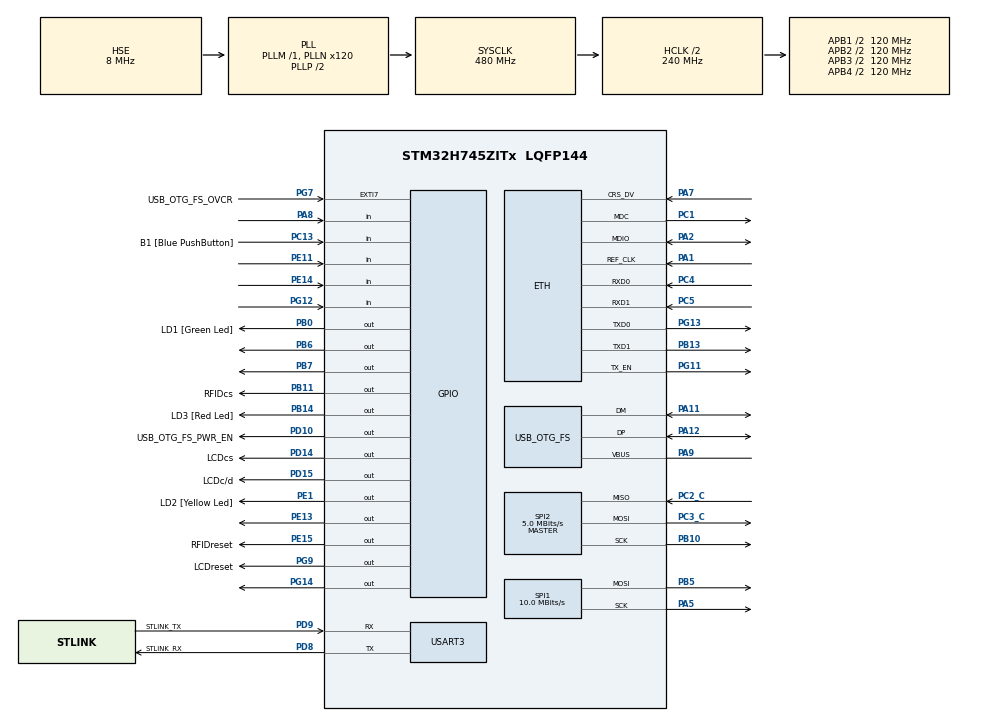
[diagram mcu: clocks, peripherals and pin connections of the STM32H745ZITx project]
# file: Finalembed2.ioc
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CortexM4.IPs=FATFS_M4\:I,FREERTOS_M4\:I,IWDG2\:I,RCC,WWDG2\:I,DMA,BDMA,MDMA,NVIC2\:I,USART3,ETH,DEBUG,USB_DEVICE_M4\:I,USB_HOST_M4\:I,PDM2PCM_M4\:I,PWR,RESMGR_UTILITY,SYS_M4\:I,CORTEX_M4\:I,OPENAMP_M4\:I,VREFBUF
CortexM7.IPs=FATFS_M7\:I,FREERTOS_M7\:I,IWDG1\:I,RCC\:I,WWDG1\:I,DMA\:I,BDMA\:I,MDMA\:I,NVIC1\:I,SYS\:I,USART3\:I,USB_OTG_FS\:I,ETH\:I,CORTEX_M7\:I,DEBUG\:I,USB_DEVICE_M7\:I,USB_HOST_M7\:I,PDM2PCM_M7\:I,PWR\:I,RESMGR_UTILITY\:I,OPENAMP_M7\:I,VREFBUF\:I,SPI1\:I,SPI2\:I
CortexM7.Pins=PC13,PB0,PE11,PE13,PE14,PE15,PB11,PB14,PD10,PD14,PD15,PG7,PA8,PG9,PG12,PG14,PB6,PB7,PE1
Dma.Request0=SPI1_TX
Dma.Request1=SPI2_TX
Dma.Request2=SPI2_RX
Dma.SPI1_TX.0.Direction=DMA_MEMORY_TO_PERIPH
Dma.SPI1_TX.0.EventEnable=DISABLE
Dma.SPI1_TX.0.FIFOMode=DMA_FIFOMODE_DISABLE
Dma.SPI1_TX.0.Instance=DMA1_Stream0
Dma.SPI1_TX.0.MemDataAlignment=DMA_MDATAALIGN_BYTE
Dma.SPI1_TX.0.MemInc=DMA_MINC_ENABLE
Dma.SPI1_TX.0.Mode=DMA_CIRCULAR
Dma.SPI1_TX.0.PeriphDataAlignment=DMA_PDATAALIGN_BYTE
Dma.SPI1_TX.0.PeriphInc=DMA_PINC_DISABLE
Dma.SPI1_TX.0.Polarity=HAL_DMAMUX_REQ_GEN_RISING
Dma.SPI1_TX.0.Priority=DMA_PRIORITY_LOW
Dma.SPI1_TX.0.RequestNumber=1
Dma.SPI1_TX.0.SignalID=NONE
Dma.SPI1_TX.0.SyncEnable=DISABLE
Dma.SPI1_TX.0.SyncPolarity=HAL_DMAMUX_SYNC_NO_EVENT
Dma.SPI1_TX.0.SyncRequestNumber=1
Dma.SPI1_TX.0.SyncSignalID=NONE
Dma.SPI2_RX.2.Direction=DMA_PERIPH_TO_MEMORY
Dma.SPI2_RX.2.EventEnable=DISABLE
Dma.SPI2_RX.2.FIFOMode=DMA_FIFOMODE_DISABLE
Dma.SPI2_RX.2.Instance=DMA1_Stream2
Dma.SPI2_RX.2.MemDataAlignment=DMA_MDATAALIGN_BYTE
Dma.SPI2_RX.2.MemInc=DMA_MINC_ENABLE
Dma.SPI2_RX.2.Mode=DMA_CIRCULAR
Dma.SPI2_RX.2.PeriphDataAlignment=DMA_PDATAALIGN_BYTE
Dma.SPI2_RX.2.PeriphInc=DMA_PINC_DISABLE
Dma.SPI2_RX.2.Polarity=HAL_DMAMUX_REQ_GEN_RISING
Dma.SPI2_RX.2.Priority=DMA_PRIORITY_LOW
Dma.SPI2_RX.2.RequestNumber=1
Dma.SPI2_RX.2.SignalID=NONE
Dma.SPI2_RX.2.SyncEnable=DISABLE
Dma.SPI2_RX.2.SyncPolarity=HAL_DMAMUX_SYNC_NO_EVENT
Dma.SPI2_RX.2.SyncRequestNumber=1
Dma.SPI2_RX.2.SyncSignalID=NONE
Dma.SPI2_TX.1.Direction=DMA_MEMORY_TO_PERIPH
Dma.SPI2_TX.1.EventEnable=DISABLE
Dma.SPI2_TX.1.FIFOMode=DMA_FIFOMODE_DISABLE
Dma.SPI2_TX.1.Instance=DMA1_Stream1
Dma.SPI2_TX.1.MemDataAlignment=DMA_MDATAALIGN_BYTE
Dma.SPI2_TX.1.MemInc=DMA_MINC_ENABLE
Dma.SPI2_TX.1.Mode=DMA_CIRCULAR
Dma.SPI2_TX.1.PeriphDataAlignment=DMA_PDATAALIGN_BYTE
Dma.SPI2_TX.1.PeriphInc=DMA_PINC_DISABLE
Dma.SPI2_TX.1.Polarity=HAL_DMAMUX_REQ_GEN_RISING
Dma.SPI2_TX.1.Priority=DMA_PRIORITY_LOW
Dma.SPI2_TX.1.RequestNumber=1
Dma.SPI2_TX.1.SignalID=NONE
Dma.SPI2_TX.1.SyncEnable=DISABLE
Dma.SPI2_TX.1.SyncPolarity=HAL_DMAMUX_SYNC_NO_EVENT
Dma.SPI2_TX.1.SyncRequestNumber=1
Dma.SPI2_TX.1.SyncSignalID=NONE
ETH.MediaInterface=HAL_ETH_RMII_MODE
Mcu.Family=STM32H7
Mcu.Name=STM32H745ZITx
Mcu.Package=LQFP144
NVIC1.DMA1_Stream0_IRQn=true\:0\:0\:false\:false\:true\:false\:true
NVIC1.DMA1_Stream1_IRQn=true\:0\:0\:false\:false\:true\:false\:true
NVIC1.DMA1_Stream2_IRQn=true\:0\:0\:false\:false\:true\:false\:true
NVIC1.PriorityGroup=NVIC_PRIORITYGROUP_4
NVIC1.SPI1_IRQn=true\:0\:0\:false\:false\:true\:true\:true
NVIC1.SPI2_IRQn=true\:0\:0\:false\:false\:true\:false\:true
NVIC2.PriorityGroup=NVIC_PRIORITYGROUP_4
PA1.Mode=RMII
PA1.PinAttribute=CortexM7
PA1.Signal=ETH_REF_CLK
PA11.Mode=Device_Only
PA11.PinAttribute=CortexM7
PA11.Signal=USB_OTG_FS_DM
PA12.Mode=Device_Only
PA12.PinAttribute=CortexM7
PA12.Signal=USB_OTG_FS_DP
PA2.Mode=RMII
PA2.PinAttribute=CortexM7
PA2.Signal=ETH_MDIO
PA5.Mode=TX_Only_Simplex_Unidirect_Master
PA5.PinAttribute=CortexM7
PA5.Signal=SPI1_SCK
PA7.Mode=RMII
PA7.PinAttribute=CortexM7
PA7.Signal=ETH_CRS_DV
PA8.GPIO_PuPd=GPIO_PULLUP
PA8.PinAttribute=CortexM7
PA8.Signal=GPIO_Input
PA9.Mode=Activate_VBUS
PA9.PinAttribute=CortexM7
PA9.Signal=USB_OTG_FS_VBUS
PB0.GPIO_Label=LD1 [Green Led]
PB0.PinAttribute=CortexM7
PB0.Signal=GPIO_Output
PB10.Mode=Full_Duplex_Master
PB10.PinAttribute=CortexM7
PB10.Signal=SPI2_SCK
PB11.GPIO_Label=RFIDcs
PB11.PinAttribute=CortexM7
PB11.PinState=GPIO_PIN_SET
PB11.Signal=GPIO_Output
PB13.Mode=RMII
PB13.PinAttribute=CortexM7
PB13.Signal=ETH_TXD1
PB14.GPIO_Label=LD3 [Red Led]
PB14.PinAttribute=CortexM7
PB14.Signal=GPIO_Output
PB5.Mode=TX_Only_Simplex_Unidirect_Master
PB5.PinAttribute=CortexM7
PB5.Signal=SPI1_MOSI
PB6.GPIO_ModeDefaultOutputPP=GPIO_MODE_OUTPUT_OD
PB6.GPIO_PuPd=GPIO_NOPULL
PB6.PinAttribute=CortexM7
PB6.PinState=GPIO_PIN_SET
PB6.Signal=GPIO_Output
PB7.GPIO_ModeDefaultOutputPP=GPIO_MODE_OUTPUT_OD
PB7.GPIO_PuPd=GPIO_NOPULL
PB7.PinAttribute=CortexM7
PB7.PinState=GPIO_PIN_SET
PB7.Signal=GPIO_Output
PC1.Mode=RMII
PC1.PinAttribute=CortexM7
PC1.Signal=ETH_MDC
PC13.GPIO_Label=B1 [Blue PushButton]
PC13.PinAttribute=CortexM7
PC13.Signal=GPIO_Input
PC14-OSC32_IN\ (OSC32_IN).Mode=LSE-External-Oscillator
PC14-OSC32_IN\ (OSC32_IN).PinAttribute=CortexM7
PC14-OSC32_IN\ (OSC32_IN).Signal=RCC_OSC32_IN
PC15-OSC32_OUT\ (OSC32_OUT).Mode=LSE-External-Oscillator
PC15-OSC32_OUT\ (OSC32_OUT).PinAttribute=CortexM7
PC15-OSC32_OUT\ (OSC32_OUT).Signal=RCC_OSC32_OUT
PC2_C.Mode=Full_Duplex_Master
PC2_C.PinAttribute=CortexM7
PC2_C.Signal=SPI2_MISO
PC3_C.Mode=Full_Duplex_Master
PC3_C.PinAttribute=CortexM7
PC3_C.Signal=SPI2_MOSI
PC4.Mode=RMII
PC4.PinAttribute=CortexM7
PC4.Signal=ETH_RXD0
PC5.Mode=RMII
PC5.PinAttribute=CortexM7
PC5.Signal=ETH_RXD1
PD10.GPIO_Label=USB_OTG_FS_PWR_EN
PD10.PinAttribute=CortexM7
PD10.Signal=GPIO_Output
PD14.GPIO_Label=LCDcs
PD14.PinAttribute=CortexM7
PD14.PinState=GPIO_PIN_SET
PD14.Signal=GPIO_Output
PD15.GPIO_Label=LCDc/d
PD15.PinAttribute=CortexM7
PD15.Signal=GPIO_Output
PD8.GPIO_Label=STLINK_RX
PD8.Mode=Asynchronous
PD8.PinAttribute=CortexM7
PD8.Signal=USART3_TX
PD9.GPIO_Label=STLINK_TX
PD9.Mode=Asynchronous
PD9.PinAttribute=CortexM7
PD9.Signal=USART3_RX
PE1.GPIO_Label=LD2 [Yellow Led]
PE1.PinAttribute=CortexM7
PE1.Signal=GPIO_Output
PE11.GPIO_PuPd=GPIO_PULLUP
PE11.PinAttribute=CortexM7
PE11.Signal=GPIO_Input
PE13.GPIO_ModeDefaultOutputPP=GPIO_MODE_OUTPUT_OD
PE13.GPIO_PuPd=GPIO_NOPULL
PE13.PinAttribute=CortexM7
PE13.PinState=GPIO_PIN_SET
PE13.Signal=GPIO_Output
PE14.GPIO_Mode=GPIO_MODE_INPUT
PE14.GPIO_PuPd=GPIO_PULLUP
PE14.PinAttribute=CortexM7
PE14.Signal=GPIO_Input
PE15.GPIO_Label=RFIDreset
PE15.PinAttribute=CortexM7
PE15.PinState=GPIO_PIN_SET
PE15.Signal=GPIO_Output
PG11.Mode=RMII
PG11.PinAttribute=CortexM7
PG11.Signal=ETH_TX_EN
PG12.GPIO_PuPd=GPIO_PULLUP
PG12.PinAttribute=CortexM7
PG12.Signal=GPIO_Input
PG13.Mode=RMII
PG13.PinAttribute=CortexM7
PG13.Signal=ETH_TXD0
PG14.GPIO_ModeDefaultOutputPP=GPIO_MODE_OUTPUT_OD
PG14.GPIO_PuPd=GPIO_NOPULL
PG14.PinAttribute=CortexM7
PG14.PinState=GPIO_PIN_SET
PG14.Signal=GPIO_Output
PG7.GPIO_Label=USB_OTG_FS_OVCR
PG7.PinAttribute=CortexM7
PG7.Signal=GPXTI7
PG9.GPIO_Label=LCDreset
PG9.PinAttribute=CortexM7
PG9.PinState=GPIO_PIN_SET
PG9.Signal=GPIO_Output
PH0-OSC_IN\ (PH0).Mode=HSE-External-Clock-Source
PH0-OSC_IN\ (PH0).PinAttribute=CortexM7
PH0-OSC_IN\ (PH0).Signal=RCC_OSC_IN
PH1-OSC_OUT\ (PH1).PinAttribute=CortexM7
PH1-OSC_OUT\ (PH1).Signal=RCC_OSC_OUT
ProjectManager.HeapSize=M4-0x200,M7-0x200
ProjectManager.StackSize=M4-0x400,M7-0x400
ProjectManager.TargetToolchain=STM32CubeIDE
RCC.ADCFreq_Value=16125000
RCC.APB1Freq_Value=120000000
RCC.APB2Freq_Value=120000000
RCC.APB3Freq_Value=120000000
RCC.APB4Freq_Value=120000000
RCC.CortexFreq_Value=480000000
RCC.D1PPRE=RCC_APB3_DIV2
RCC.D2PPRE1=RCC_APB1_DIV2
RCC.D2PPRE2=RCC_APB2_DIV2
RCC.D3PPRE=RCC_APB4_DIV2
RCC.DIVM1=1
RCC.DIVM3=1
RCC.DIVN1=120
RCC.DIVN3=24
RCC.DIVQ1=6
RCC.DIVQ3=4
RCC.HCLKFreq_Value=240000000
RCC.HPRE=RCC_HCLK_DIV2
RCC.HSE_VALUE=8000000
RCC.PLL2FRACN=0
RCC.PLL3FRACN=0
RCC.PLLFRACN=0
RCC.SYSCLKFreq_VALUE=480000000
RCC.SYSCLKSource=RCC_SYSCLKSOURCE_PLLCLK
RCC.SupplySource=PWR_DIRECT_SMPS_SUPPLY
RCC.USBCLockSelection=RCC_USBCLKSOURCE_PLL3
RCC.USBFreq_Value=48000000
SPI1.BaudRatePrescaler=SPI_BAUDRATEPRESCALER_16
SPI1.CalculateBaudRate=10.0 MBits/s
SPI1.DataSize=SPI_DATASIZE_8BIT
SPI1.Direction=SPI_DIRECTION_2LINES_TXONLY
SPI1.MasterKeepIOState=SPI_MASTER_KEEP_IO_STATE_ENABLE
SPI1.Mode=SPI_MODE_MASTER
SPI1.VirtualType=VM_MASTER
SPI2.BaudRatePrescaler=SPI_BAUDRATEPRESCALER_32
SPI2.CalculateBaudRate=5.0 MBits/s
SPI2.DataSize=SPI_DATASIZE_8BIT
SPI2.Direction=SPI_DIRECTION_2LINES
SPI2.MasterKeepIOState=SPI_MASTER_KEEP_IO_STATE_ENABLE
SPI2.Mode=SPI_MODE_MASTER
SPI2.VirtualType=VM_MASTER
USART3.VirtualMode-Asynchronous=VM_ASYNC
USB_OTG_FS.VirtualMode=Device_Only
VP_SYS_M4_VS_Systick.Mode=SysTick
board=NUCLEO-H745ZI-Q

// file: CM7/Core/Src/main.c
/* USER CODE BEGIN Header */
/**
 ******************************************************************************
 * @file           : main.c
 * @brief          : Main program body
 ******************************************************************************
 * @attention
 *
 * Copyright (c) 2022 STMicroelectronics.
 * All rights reserved.
 *
 * This software is licensed under terms that can be found in the LICENSE file
 * in the root directory of this software component.
 * If no LICENSE file comes with this software, it is provided AS-IS.
 *
 ******************************************************************************
 */
/* USER CODE END Header */
#include "main.h"
#include "string.h"

/* USER CODE BEGIN Includes */
#include "ST7735.h"
#include "GFX_FUNCTIONS.h"
/* USER CODE END Includes */

/* USER CODE BEGIN PD */

#ifndef HSEM_ID_0
#define HSEM_ID_0 (0U) /* HW semaphore 0*/
#endif
/* USER CODE END PD */

#if defined ( __ICCARM__ ) /*!< IAR Compiler */

#pragma location=0x30040000
ETH_DMADescTypeDef  DMARxDscrTab[ETH_RX_DESC_CNT]; /* Ethernet Rx DMA Descriptors */
#pragma location=0x30040060
ETH_DMADescTypeDef  DMATxDscrTab[ETH_TX_DESC_CNT]; /* Ethernet Tx DMA Descriptors */
#pragma location=0x300400c0
uint8_t Rx_Buff[ETH_RX_DESC_CNT][ETH_MAX_PACKET_SIZE]; /* Ethernet Receive Buffers */

#elif defined ( __CC_ARM )  /* MDK ARM Compiler */

__attribute__((at(0x30040000))) ETH_DMADescTypeDef  DMARxDscrTab[ETH_RX_DESC_CNT]; /* Ethernet Rx DMA Descriptors */
__attribute__((at(0x30040060))) ETH_DMADescTypeDef  DMATxDscrTab[ETH_TX_DESC_CNT]; /* Ethernet Tx DMA Descriptors */
__attribute__((at(0x300400c0))) uint8_t Rx_Buff[ETH_RX_DESC_CNT][ETH_MAX_PACKET_SIZE]; /* Ethernet Receive Buffer */

#elif defined ( __GNUC__ ) /* GNU Compiler */

ETH_DMADescTypeDef DMARxDscrTab[ETH_RX_DESC_CNT] __attribute__((section(".RxDecripSection"))); /* Ethernet Rx DMA Descriptors */
ETH_DMADescTypeDef DMATxDscrTab[ETH_TX_DESC_CNT] __attribute__((section(".TxDecripSection"))); /* Ethernet Tx DMA Descriptors */
uint8_t Rx_Buff[ETH_RX_DESC_CNT][ETH_MAX_PACKET_SIZE] __attribute__((section(".RxArraySection"))); /* Ethernet Receive Buffers */

#endif

ETH_TxPacketConfig TxConfig;

ETH_HandleTypeDef heth;

SPI_HandleTypeDef hspi1;
SPI_HandleTypeDef hspi2;
DMA_HandleTypeDef hdma_spi1_tx;
DMA_HandleTypeDef hdma_spi2_tx;
DMA_HandleTypeDef hdma_spi2_rx;

UART_HandleTypeDef huart3;

PCD_HandleTypeDef hpcd_USB_OTG_FS;

/* USER CODE BEGIN PV */
uint16_t ButtonMatrixState = 0;
int x;
int x1, x2, x3, x4;
int i = 0;
int state = 0;
int password[4] = { -16, -16, -16, -16 };
int key[4] = { 0, 0, 0, 0 };
int press[2];
int lock = 0;
int setpassword = 0;
int verify[4] = { 0, 0, 0, 0 };
int findcard;
int cardstr[16];
int uid[16];
char numbercar[7] = { 'a', ' ', 'a', ' ', 'a', ' ', 'a' };
int write = 0;
int keyRFID[16] = { 0x2, 0x2, 0x2, 0x2, 0x2, 0x2, 0x2, 0x2, 0x2, 0x2, 0x2, 0x2,
		0x2, 0x2, 0x2, 0x2 };
//Button TimeStamp
uint32_t ButtonMatrixTimestamp = 0;
int status_write = 0;
int card_data[16];
int setRFID = 0;
int lockcount[2] = { 0, 0 };
int locktimestamp = 0;
int slot = 0;
int writecount[2] = { 0, 0 };
int writetimestamp = 0;
int errortimestamp[5] = {-400000,-330000,-260000,-190000,-100000};
int errorpointer = 0;
int displaylock = 0;
int displaycount[2] = {0,0};
int displaytimestamp = 0;
/* USER CODE END PV */

void SystemClock_Config(void);
static void MX_GPIO_Init(void);
static void MX_ETH_Init(void);
static void MX_USART3_UART_Init(void);
static void MX_DMA_Init(void);
static void MX_SPI1_Init(void);
static void MX_USB_OTG_FS_PCD_Init(void);
static void MX_SPI2_Init(void);
/* USER CODE BEGIN PFP */
void ButtonMatrixUpdate();
int Button( ButtonMatrixState);
void Write_MFRC522(char addr, char val);
char Read_MFRC522(char addr);
char MFRC522_ToCard(char command, char *sendData, char sendLen, char *backData,
		int *backLen);
void SetBitMask(char reg, char mask);
void ClearBitMask(char reg, char mask);
char MFRC522_Request(char reqMode, char *TagType);
void CalulateCRC(char *pIndata, char len, char *pOutData);
char MFRC522_Write(char blockAddr, char *writeData);
char MFRC522_Read(char blockAddr, char *recvData);
char MFRC522_Anticoll(char *serNum);
/* USER CODE END PFP */

int main(void) {
	/* USER CODE BEGIN Boot_Mode_Sequence_0 */
	int32_t timeout;
	/* USER CODE END Boot_Mode_Sequence_0 */

	/* USER CODE BEGIN Boot_Mode_Sequence_1 */
	/* Wait until CPU2 boots and enters in stop mode or timeout*/
	timeout = 0xFFFF;
	while ((__HAL_RCC_GET_FLAG(RCC_FLAG_D2CKRDY) != RESET) && (timeout-- > 0))
		;
	if (timeout < 0) {
		Error_Handler();
	}
	/* USER CODE END Boot_Mode_Sequence_1 */
	/* MCU Configuration--------------------------------------------------------*/

	/* Reset of all peripherals, Initializes the Flash interface and the Systick. */
	HAL_Init();

	/* Configure the system clock */
	SystemClock_Config();
	/* USER CODE BEGIN Boot_Mode_Sequence_2 */
	/* When system initialization is finished, Cortex-M7 will release Cortex-M4 by means of
	 HSEM notification */
	/*HW semaphore Clock enable*/
	__HAL_RCC_HSEM_CLK_ENABLE();
	/*Take HSEM */
	HAL_HSEM_FastTake(HSEM_ID_0);
	/*Release HSEM in order to notify the CPU2(CM4)*/
	HAL_HSEM_Release(HSEM_ID_0, 0);
	/* wait until CPU2 wakes up from stop mode */
	timeout = 0xFFFF;
	while ((__HAL_RCC_GET_FLAG(RCC_FLAG_D2CKRDY) == RESET) && (timeout-- > 0))
		;
	if (timeout < 0) {
		Error_Handler();
	}
	/* USER CODE END Boot_Mode_Sequence_2 */

	/* Initialize all configured peripherals */
	MX_GPIO_Init();
	MX_ETH_Init();
	MX_USART3_UART_Init();
	MX_DMA_Init();
	MX_SPI1_Init();
	MX_USB_OTG_FS_PCD_Init();
	MX_SPI2_Init();
	/* USER CODE BEGIN 2 */

	ST7735_Init(2);
	fillScreen(BLACK);
	Write_MFRC522(0x2A, 0x80); // ประกาศ timer ภายในเป็น auto
	Write_MFRC522(0x2B, 0xA9); //เซ็ทความถี่ของ timer ด้วย prescaler // TModeReg[3..0] + TPrescalerReg
	Write_MFRC522(0x2D, 0x03); //30); set เวลา reload lowerbit
	Write_MFRC522(0x2C, 0xE8); //0); set เวลา reload higher bit
	Write_MFRC522(0x15, 0x40);     // force 100% ASK modulation
	Write_MFRC522(0x11, 0x3D);       // transmitter ส่งได้เมื่อมี RF field , MFIN เป็น active high ,CRC Initial value 0x6363
	char tmp1;
	tmp1 = Read_MFRC522(0x14);
	Write_MFRC522(0x14, tmp1 | 0x03); // antenna on ทำให้ tx1,2 ส่งด้วยความถี่ 13.56 MHz
	card_data[0] = 0xFF;
	card_data[1] = 0xFF;
	card_data[2] = 0xFF;
	card_data[3] = 0xFF;
	card_data[4] = 0xFF;
	card_data[5] = 0xFF;
	card_data[6] = 0xFF; //Access_bits[6]
	card_data[7] = 0x07; //Access_bits[7]
	card_data[8] = 0x80; //Access_bits[8]
	card_data[9] = 0x88; //user_byte[9]
	card_data[10] = 0x88; //user_byte[10]
	card_data[11] = 0x88; //user_byte[11]
	card_data[12] = 0x88; //user_byte[12]
	card_data[13] = 0x88; //user_byte[13]
	card_data[14] = 0x88; //user_byte[14]
	card_data[15] = 0x88; //user_byte[15]
	/* USER CODE END 2 */

	/* Infinite loop */
	/* USER CODE BEGIN WHILE */
	while (1) {
		for (int i = 0; i < 16; i++) {
			cardstr[i] = 0;
		}
		findcard = MFRC522_Request(0x26, cardstr); // ตรวจหวบัตร โดยใส่ 26 เพื่อเป็น การ request type A ออกมา
		if (findcard == 0) {
			if (write == 0) {
				if (MFRC522_Anticoll(cardstr) == 0) {
					uid[0] = cardstr[0];
				}
//				MFRC522_Read(0, uid);
				int h;
				for (h = 0; h < 16; ++h) {
					if (uid[0] == keyRFID[h]) {
						lock = 1;
					}
				}
			} else {
				if (MFRC522_Anticoll(cardstr) == 0) {
					uid[0] = cardstr[0];
					write = 0;
					keyRFID[slot] = uid[0];
					slot = slot + 1;
				}
//				status_write = MFRC522_Write(4, card_data);
			}
		}

		numbercar[0] = password[0] + 48;
		numbercar[2] = password[1] + 48;
		numbercar[4] = password[2] + 48;
		numbercar[6] = password[3] + 48;
		//		ST7735_WriteString(0, 51, "_ _ _ _", Font_16x26, YELLOW,BLACK);
		if(displaylock == 1){
			ST7735_WriteString(0, 50, "DISPLAY LOCK                                       ", Font_16x26,BLUE, BLACK);
		}else{
			ST7735_WriteString(0, 50, numbercar, Font_16x26, YELLOW, BLACK);
			if (setpassword == 1 || setRFID == 1) {
				ST7735_WriteString(0, 100, "Enter your password", Font_7x10, GREEN,
				BLACK);
			} else if (setpassword == 2) {
				ST7735_WriteString(0, 100, "Enter your new password", Font_7x10,
				GREEN, BLACK);
			} else if (setpassword == 3) {
				ST7735_WriteString(0, 100, "One more time           ", Font_7x10,
				GREEN, BLACK);
			} else if (write == 1) {
				ST7735_WriteString(0, 100, "Ready to write            ", Font_7x10,
						MAGENTA,
						BLACK);
			} else {
				ST7735_WriteString(0, 75,
						"                                                                                 ", Font_7x10,
						GREEN, BLACK);
			}
		}
		if (lock == 0) {
			HAL_GPIO_WritePin(LD2_GPIO_Port, LD2_Pin, 0);
			ST7735_WriteString(0, 0, "LOCK  ", Font_16x26, RED, BLACK);
		} else {
			HAL_GPIO_WritePin(LD2_GPIO_Port, LD2_Pin, 1);
			ST7735_WriteString(0, 0, "UNLOCK", Font_16x26, GREEN, BLACK);
		}

		lockcount[0] = lock;
		if (lockcount[0] == 1 && lockcount[1] == 0) {
			locktimestamp = HAL_GetTick();
		}
		if (HAL_GetTick() - locktimestamp >= 10000) {
			lock = 0;
		}
		lockcount[1] = lockcount[0];

		writecount[0] = write;
		if (writecount[0] == 1 && writecount[1] == 0) {
			writetimestamp = HAL_GetTick();
		}
		if (HAL_GetTick() - writetimestamp >= 10000) {
			write = 0;
		}
		writecount[1] = writecount[0];

		displaycount[0] = displaylock;
		if (displaycount[0] == 1 && displaycount[1] == 0){
			displaytimestamp = HAL_GetTick();
		}
		if (HAL_GetTick() - displaytimestamp >= 15000) {
					displaylock = 0;
				}
		displaycount[1] = displaycount[0];
		ButtonMatrixUpdate();
		press[0] = ButtonMatrixState;

		if (press[0] != press[1] && press[0] != 0 && displaylock == 0) {
			if (state == 0) {
				if (ButtonMatrixState != 0b100000000000) {
					password[0] = Button(ButtonMatrixState);
					state = 1;
				}
			} else if (state == 1) {
				if (ButtonMatrixState == 0b100000000000) {
					password[0] = -16;
					state = 0;
				} else {
					password[1] = Button(ButtonMatrixState);
					state = 2;
				}
			} else if (state == 2) {
				if (ButtonMatrixState == 0b100000000000) {
					password[1] = -16;
					state = 1;
				} else {
					password[2] = Button(ButtonMatrixState);
					state = 3;
				}
			} else if (state == 3) {
				if (ButtonMatrixState == 0b100000000000) {
					password[2] = -16;
					state = 2;
				} else {
					password[3] = Button(ButtonMatrixState);
					state = 4;
				}
			}
			if (state == 4) {
				if (setRFID == 1) {
					write = 1;
					setRFID = 0;
					state = 0;
				} else if (setpassword == 3) {
					if (password[0] == verify[0] && password[1] == verify[1]
							&& password[2] == verify[2]
							&& password[3] == verify[3]) {
						key[0] = verify[0];
						key[1] = verify[1];
						key[2] = verify[2];
						key[3] = verify[3];
					}
					setpassword = 0;
					state = 0;
				} else if (setpassword == 2) {
					verify[0] = password[0];
					verify[1] = password[1];
					verify[2] = password[2];
					verify[3] = password[3];
					setpassword = 3;
					state = 0;
				} else if (setpassword == 1) {
					if (password[0] == key[0] && password[1] == key[1]
							&& password[2] == key[3] && password[3] == key[4]) {
						setpassword = 2;
					} else {
						setpassword = 0;
					}
					state = 0;
				} else if (password[0] == -6 && password[1] == 1
						&& password[2] == 2 && password[3] == 3) {
					state = 0;
					setpassword = 1;
				} else if (password[0] == -6 && password[1] == 4
						&& password[2] == 5 && password[3] == 6) {
					setRFID = 1;
					state = 0;
				} else if (password[0] == key[0] && password[1] == key[1]
						&& password[2] == key[2] && password[3] == key[3]) {
					lock = 1;
					state = 0;
				} else {
					errortimestamp[errorpointer] = HAL_GetTick();
					errorpointer = (errorpointer+1)%5;
					state = 0;
				}
				password[0] = -16;
				password[1] = -16;
				password[2] = -16;
				password[3] = -16;
			}
		}
		if(errortimestamp[((errorpointer-1)+5)%5] - errortimestamp[(errorpointer)%5] <= 60000){
			displaylock = 1;
			errortimestamp[0] = -400000;
			errortimestamp[1] = -330000;
			errortimestamp[2] = -260000;
			errortimestamp[3] = -190000;
			errortimestamp[4] = -100000;
		}
		press[1] = press[0];
		/* USER CODE END WHILE */

	}
}

void SystemClock_Config(void) {
	RCC_OscInitTypeDef RCC_OscInitStruct = { 0 };
	RCC_ClkInitTypeDef RCC_ClkInitStruct = { 0 };

	/** Supply configuration update enable
	 */
	HAL_PWREx_ConfigSupply(PWR_DIRECT_SMPS_SUPPLY);
	/** Configure the main internal regulator output voltage
	 */
	__HAL_PWR_VOLTAGESCALING_CONFIG(PWR_REGULATOR_VOLTAGE_SCALE0);

	while (!__HAL_PWR_GET_FLAG(PWR_FLAG_VOSRDY)) {
	}
	/** Macro to configure the PLL clock source
	 */
	__HAL_RCC_PLL_PLLSOURCE_CONFIG(RCC_PLLSOURCE_HSE);
	/** Initializes the RCC Oscillators according to the specified parameters
	 * in the RCC_OscInitTypeDef structure.
	 */
	RCC_OscInitStruct.OscillatorType = RCC_OSCILLATORTYPE_HSE;
	RCC_OscInitStruct.HSEState = RCC_HSE_BYPASS;
	RCC_OscInitStruct.PLL.PLLState = RCC_PLL_ON;
	RCC_OscInitStruct.PLL.PLLSource = RCC_PLLSOURCE_HSE;
	RCC_OscInitStruct.PLL.PLLM = 1;
	RCC_OscInitStruct.PLL.PLLN = 120;
	RCC_OscInitStruct.PLL.PLLP = 2;
	RCC_OscInitStruct.PLL.PLLQ = 6;
	RCC_OscInitStruct.PLL.PLLR = 2;
	RCC_OscInitStruct.PLL.PLLRGE = RCC_PLL1VCIRANGE_3;
	RCC_OscInitStruct.PLL.PLLVCOSEL = RCC_PLL1VCOWIDE;
	RCC_OscInitStruct.PLL.PLLFRACN = 0;
	if (HAL_RCC_OscConfig(&RCC_OscInitStruct) != HAL_OK) {
		Error_Handler();
	}
	/** Initializes the CPU, AHB and APB buses clocks
	 */
	RCC_ClkInitStruct.ClockType = RCC_CLOCKTYPE_HCLK | RCC_CLOCKTYPE_SYSCLK
			| RCC_CLOCKTYPE_PCLK1 | RCC_CLOCKTYPE_PCLK2 | RCC_CLOCKTYPE_D3PCLK1
			| RCC_CLOCKTYPE_D1PCLK1;
	RCC_ClkInitStruct.SYSCLKSource = RCC_SYSCLKSOURCE_PLLCLK;
	RCC_ClkInitStruct.SYSCLKDivider = RCC_SYSCLK_DIV1;
	RCC_ClkInitStruct.AHBCLKDivider = RCC_HCLK_DIV2;
	RCC_ClkInitStruct.APB3CLKDivider = RCC_APB3_DIV2;
	RCC_ClkInitStruct.APB1CLKDivider = RCC_APB1_DIV2;
	RCC_ClkInitStruct.APB2CLKDivider = RCC_APB2_DIV2;
	RCC_ClkInitStruct.APB4CLKDivider = RCC_APB4_DIV2;

	if (HAL_RCC_ClockConfig(&RCC_ClkInitStruct, FLASH_LATENCY_4) != HAL_OK) {
		Error_Handler();
	}
}

static void MX_ETH_Init(void) {

	static uint8_t MACAddr[6];

	heth.Instance = ETH;
	MACAddr[0] = 0x00;
	MACAddr[1] = 0x80;
	MACAddr[2] = 0xE1;
	MACAddr[3] = 0x00;
	MACAddr[4] = 0x00;
	MACAddr[5] = 0x00;
	heth.Init.MACAddr = &MACAddr[0];
	heth.Init.MediaInterface = HAL_ETH_RMII_MODE;
	heth.Init.TxDesc = DMATxDscrTab;
	heth.Init.RxDesc = DMARxDscrTab;
	heth.Init.RxBuffLen = 1524;

	if (HAL_ETH_Init(&heth) != HAL_OK) {
		Error_Handler();
	}

	memset(&TxConfig, 0, sizeof(ETH_TxPacketConfig));
	TxConfig.Attributes = ETH_TX_PACKETS_FEATURES_CSUM
			| ETH_TX_PACKETS_FEATURES_CRCPAD;
	TxConfig.ChecksumCtrl = ETH_CHECKSUM_IPHDR_PAYLOAD_INSERT_PHDR_CALC;
	TxConfig.CRCPadCtrl = ETH_CRC_PAD_INSERT;

}

static void MX_SPI1_Init(void) {

	/* SPI1 parameter configuration*/
	hspi1.Instance = SPI1;
	hspi1.Init.Mode = SPI_MODE_MASTER;
	hspi1.Init.Direction = SPI_DIRECTION_2LINES_TXONLY;
	hspi1.Init.DataSize = SPI_DATASIZE_8BIT;
	hspi1.Init.CLKPolarity = SPI_POLARITY_LOW;
	hspi1.Init.CLKPhase = SPI_PHASE_1EDGE;
	hspi1.Init.NSS = SPI_NSS_SOFT;
	hspi1.Init.BaudRatePrescaler = SPI_BAUDRATEPRESCALER_16;
	hspi1.Init.FirstBit = SPI_FIRSTBIT_MSB;
	hspi1.Init.TIMode = SPI_TIMODE_DISABLE;
	hspi1.Init.CRCCalculation = SPI_CRCCALCULATION_DISABLE;
	hspi1.Init.CRCPolynomial = 0x0;
	hspi1.Init.NSSPMode = SPI_NSS_PULSE_ENABLE;
	hspi1.Init.NSSPolarity = SPI_NSS_POLARITY_LOW;
	hspi1.Init.FifoThreshold = SPI_FIFO_THRESHOLD_01DATA;
	hspi1.Init.TxCRCInitializationPattern =
	SPI_CRC_INITIALIZATION_ALL_ZERO_PATTERN;
	hspi1.Init.RxCRCInitializationPattern =
	SPI_CRC_INITIALIZATION_ALL_ZERO_PATTERN;
	hspi1.Init.MasterSSIdleness = SPI_MASTER_SS_IDLENESS_00CYCLE;
	hspi1.Init.MasterInterDataIdleness = SPI_MASTER_INTERDATA_IDLENESS_00CYCLE;
	hspi1.Init.MasterReceiverAutoSusp = SPI_MASTER_RX_AUTOSUSP_DISABLE;
	hspi1.Init.MasterKeepIOState = SPI_MASTER_KEEP_IO_STATE_ENABLE;
	hspi1.Init.IOSwap = SPI_IO_SWAP_DISABLE;
	if (HAL_SPI_Init(&hspi1) != HAL_OK) {
		Error_Handler();
	}

}

static void MX_SPI2_Init(void) {

	/* SPI2 parameter configuration*/
	hspi2.Instance = SPI2;
	hspi2.Init.Mode = SPI_MODE_MASTER;
	hspi2.Init.Direction = SPI_DIRECTION_2LINES;
	hspi2.Init.DataSize = SPI_DATASIZE_8BIT;
	hspi2.Init.CLKPolarity = SPI_POLARITY_LOW;
	hspi2.Init.CLKPhase = SPI_PHASE_1EDGE;
	hspi2.Init.NSS = SPI_NSS_SOFT;
	hspi2.Init.BaudRatePrescaler = SPI_BAUDRATEPRESCALER_32;
	hspi2.Init.FirstBit = SPI_FIRSTBIT_MSB;
	hspi2.Init.TIMode = SPI_TIMODE_DISABLE;
	hspi2.Init.CRCCalculation = SPI_CRCCALCULATION_DISABLE;
	hspi2.Init.CRCPolynomial = 0x0;
	hspi2.Init.NSSPMode = SPI_NSS_PULSE_ENABLE;
	hspi2.Init.NSSPolarity = SPI_NSS_POLARITY_LOW;
	hspi2.Init.FifoThreshold = SPI_FIFO_THRESHOLD_01DATA;
	hspi2.Init.TxCRCInitializationPattern =
	SPI_CRC_INITIALIZATION_ALL_ZERO_PATTERN;
	hspi2.Init.RxCRCInitializationPattern =
	SPI_CRC_INITIALIZATION_ALL_ZERO_PATTERN;
	hspi2.Init.MasterSSIdleness = SPI_MASTER_SS_IDLENESS_00CYCLE;
	hspi2.Init.MasterInterDataIdleness = SPI_MASTER_INTERDATA_IDLENESS_00CYCLE;
	hspi2.Init.MasterReceiverAutoSusp = SPI_MASTER_RX_AUTOSUSP_DISABLE;
	hspi2.Init.MasterKeepIOState = SPI_MASTER_KEEP_IO_STATE_ENABLE;
	hspi2.Init.IOSwap = SPI_IO_SWAP_DISABLE;
	if (HAL_SPI_Init(&hspi2) != HAL_OK) {
		Error_Handler();
	}

}

static void MX_USART3_UART_Init(void) {

	huart3.Instance = USART3;
	huart3.Init.BaudRate = 115200;
	huart3.Init.WordLength = UART_WORDLENGTH_8B;
	huart3.Init.StopBits = UART_STOPBITS_1;
	huart3.Init.Parity = UART_PARITY_NONE;
	huart3.Init.Mode = UART_MODE_TX_RX;
	huart3.Init.HwFlowCtl = UART_HWCONTROL_NONE;
	huart3.Init.OverSampling = UART_OVERSAMPLING_16;
	huart3.Init.OneBitSampling = UART_ONE_BIT_SAMPLE_DISABLE;
	huart3.Init.ClockPrescaler = UART_PRESCALER_DIV1;
	huart3.AdvancedInit.AdvFeatureInit = UART_ADVFEATURE_NO_INIT;
	if (HAL_UART_Init(&huart3) != HAL_OK) {
		Error_Handler();
	}
	if (HAL_UARTEx_SetTxFifoThreshold(&huart3, UART_TXFIFO_THRESHOLD_1_8)
			!= HAL_OK) {
		Error_Handler();
	}
	if (HAL_UARTEx_SetRxFifoThreshold(&huart3, UART_RXFIFO_THRESHOLD_1_8)
			!= HAL_OK) {
		Error_Handler();
	}
	if (HAL_UARTEx_DisableFifoMode(&huart3) != HAL_OK) {
		Error_Handler();
	}

}

static void MX_USB_OTG_FS_PCD_Init(void) {

	hpcd_USB_OTG_FS.Instance = USB_OTG_FS;
	hpcd_USB_OTG_FS.Init.dev_endpoints = 9;
	hpcd_USB_OTG_FS.Init.speed = PCD_SPEED_FULL;
	hpcd_USB_OTG_FS.Init.dma_enable = DISABLE;
	hpcd_USB_OTG_FS.Init.phy_itface = PCD_PHY_EMBEDDED;
	hpcd_USB_OTG_FS.Init.Sof_enable = DISABLE;
	hpcd_USB_OTG_FS.Init.low_power_enable = DISABLE;
	hpcd_USB_OTG_FS.Init.lpm_enable = DISABLE;
	hpcd_USB_OTG_FS.Init.battery_charging_enable = ENABLE;
	hpcd_USB_OTG_FS.Init.vbus_sensing_enable = ENABLE;
	hpcd_USB_OTG_FS.Init.use_dedicated_ep1 = DISABLE;
	if (HAL_PCD_Init(&hpcd_USB_OTG_FS) != HAL_OK) {
		Error_Handler();
	}

}

static void MX_DMA_Init(void) {

	/* DMA controller clock enable */
	__HAL_RCC_DMA1_CLK_ENABLE();

	/* DMA interrupt init */
	/* DMA1_Stream0_IRQn interrupt configuration */
	HAL_NVIC_SetPriority(DMA1_Stream0_IRQn, 0, 0);
	HAL_NVIC_EnableIRQ(DMA1_Stream0_IRQn);
	/* DMA1_Stream1_IRQn interrupt configuration */
	HAL_NVIC_SetPriority(DMA1_Stream1_IRQn, 0, 0);
	HAL_NVIC_EnableIRQ(DMA1_Stream1_IRQn);
	/* DMA1_Stream2_IRQn interrupt configuration */
	HAL_NVIC_SetPriority(DMA1_Stream2_IRQn, 0, 0);
	HAL_NVIC_EnableIRQ(DMA1_Stream2_IRQn);

}

static void MX_GPIO_Init(void) {
	GPIO_InitTypeDef GPIO_InitStruct = { 0 };

	/* GPIO Ports Clock Enable */
	__HAL_RCC_GPIOC_CLK_ENABLE();
	__HAL_RCC_GPIOH_CLK_ENABLE();
	__HAL_RCC_GPIOA_CLK_ENABLE();
	__HAL_RCC_GPIOB_CLK_ENABLE();
	__HAL_RCC_GPIOE_CLK_ENABLE();
	__HAL_RCC_GPIOD_CLK_ENABLE();
	__HAL_RCC_GPIOG_CLK_ENABLE();

	/*Configure GPIO pin Output Level */
	HAL_GPIO_WritePin(GPIOB, LD1_Pin | LD3_Pin, GPIO_PIN_RESET);

	/*Configure GPIO pin Output Level */
	HAL_GPIO_WritePin(GPIOE, GPIO_PIN_13 | RFIDreset_Pin, GPIO_PIN_SET);

	/*Configure GPIO pin Output Level */
	HAL_GPIO_WritePin(GPIOB, RFIDcs_Pin | GPIO_PIN_6 | GPIO_PIN_7,
			GPIO_PIN_SET);

	/*Configure GPIO pin Output Level */
	HAL_GPIO_WritePin(GPIOD, USB_OTG_FS_PWR_EN_Pin | LCDc_d_Pin,
			GPIO_PIN_RESET);

	/*Configure GPIO pin Output Level */
	HAL_GPIO_WritePin(LCDcs_GPIO_Port, LCDcs_Pin, GPIO_PIN_SET);

	/*Configure GPIO pin Output Level */
	HAL_GPIO_WritePin(GPIOG, LCDreset_Pin | GPIO_PIN_14, GPIO_PIN_SET);

	/*Configure GPIO pin Output Level */
	HAL_GPIO_WritePin(LD2_GPIO_Port, LD2_Pin, GPIO_PIN_RESET);

	/*Configure GPIO pin : B1_Pin */
	GPIO_InitStruct.Pin = B1_Pin;
	GPIO_InitStruct.Mode = GPIO_MODE_INPUT;
	GPIO_InitStruct.Pull = GPIO_NOPULL;
	HAL_GPIO_Init(B1_GPIO_Port, &GPIO_InitStruct);

	/*Configure GPIO pins : LD1_Pin RFIDcs_Pin LD3_Pin */
	GPIO_InitStruct.Pin = LD1_Pin | RFIDcs_Pin | LD3_Pin;
	GPIO_InitStruct.Mode = GPIO_MODE_OUTPUT_PP;
	GPIO_InitStruct.Pull = GPIO_NOPULL;
	GPIO_InitStruct.Speed = GPIO_SPEED_FREQ_LOW;
	HAL_GPIO_Init(GPIOB, &GPIO_InitStruct);

	/*Configure GPIO pins : PE11 PE14 */
	GPIO_InitStruct.Pin = GPIO_PIN_11 | GPIO_PIN_14;
	GPIO_InitStruct.Mode = GPIO_MODE_INPUT;
	GPIO_InitStruct.Pull = GPIO_PULLUP;
	HAL_GPIO_Init(GPIOE, &GPIO_InitStruct);

	/*Configure GPIO pin : PE13 */
	GPIO_InitStruct.Pin = GPIO_PIN_13;
	GPIO_InitStruct.Mode = GPIO_MODE_OUTPUT_OD;
	GPIO_InitStruct.Pull = GPIO_NOPULL;
	GPIO_InitStruct.Speed = GPIO_SPEED_FREQ_LOW;
	HAL_GPIO_Init(GPIOE, &GPIO_InitStruct);

	/*Configure GPIO pins : RFIDreset_Pin LD2_Pin */
	GPIO_InitStruct.Pin = RFIDreset_Pin | LD2_Pin;
	GPIO_InitStruct.Mode = GPIO_MODE_OUTPUT_PP;
	GPIO_InitStruct.Pull = GPIO_NOPULL;
	GPIO_InitStruct.Speed = GPIO_SPEED_FREQ_LOW;
	HAL_GPIO_Init(GPIOE, &GPIO_InitStruct);

	/*Configure GPIO pins : USB_OTG_FS_PWR_EN_Pin LCDcs_Pin LCDc_d_Pin */
	GPIO_InitStruct.Pin = USB_OTG_FS_PWR_EN_Pin | LCDcs_Pin | LCDc_d_Pin;
	GPIO_InitStruct.Mode = GPIO_MODE_OUTPUT_PP;
	GPIO_InitStruct.Pull = GPIO_NOPULL;
	GPIO_InitStruct.Speed = GPIO_SPEED_FREQ_LOW;
	HAL_GPIO_Init(GPIOD, &GPIO_InitStruct);

	/*Configure GPIO pin : USB_OTG_FS_OVCR_Pin */
	GPIO_InitStruct.Pin = USB_OTG_FS_OVCR_Pin;
	GPIO_InitStruct.Mode = GPIO_MODE_IT_RISING;
	GPIO_InitStruct.Pull = GPIO_NOPULL;
	HAL_GPIO_Init(USB_OTG_FS_OVCR_GPIO_Port, &GPIO_InitStruct);

	/*Configure GPIO pin : PA8 */
	GPIO_InitStruct.Pin = GPIO_PIN_8;
	GPIO_InitStruct.Mode = GPIO_MODE_INPUT;
	GPIO_InitStruct.Pull = GPIO_PULLUP;
	HAL_GPIO_Init(GPIOA, &GPIO_InitStruct);

	/*Configure GPIO pin : LCDreset_Pin */
	GPIO_InitStruct.Pin = LCDreset_Pin;
	GPIO_InitStruct.Mode = GPIO_MODE_OUTPUT_PP;
	GPIO_InitStruct.Pull = GPIO_NOPULL;
	GPIO_InitStruct.Speed = GPIO_SPEED_FREQ_LOW;
	HAL_GPIO_Init(LCDreset_GPIO_Port, &GPIO_InitStruct);

	/*Configure GPIO pin : PG12 */
	GPIO_InitStruct.Pin = GPIO_PIN_12;
	GPIO_InitStruct.Mode = GPIO_MODE_INPUT;
	GPIO_InitStruct.Pull = GPIO_PULLUP;
	HAL_GPIO_Init(GPIOG, &GPIO_InitStruct);

	/*Configure GPIO pin : PG14 */
	GPIO_InitStruct.Pin = GPIO_PIN_14;
	GPIO_InitStruct.Mode = GPIO_MODE_OUTPUT_OD;
	GPIO_InitStruct.Pull = GPIO_NOPULL;
	GPIO_InitStruct.Speed = GPIO_SPEED_FREQ_LOW;
	HAL_GPIO_Init(GPIOG, &GPIO_InitStruct);

	/*Configure GPIO pins : PB6 PB7 */
	GPIO_InitStruct.Pin = GPIO_PIN_6 | GPIO_PIN_7;
	GPIO_InitStruct.Mode = GPIO_MODE_OUTPUT_OD;
	GPIO_InitStruct.Pull = GPIO_NOPULL;
	GPIO_InitStruct.Speed = GPIO_SPEED_FREQ_LOW;
	HAL_GPIO_Init(GPIOB, &GPIO_InitStruct);

}

/* USER CODE BEGIN 4 */

GPIO_TypeDef *ButtonMatrixPort[8] = { GPIOG, GPIOA, GPIOE, GPIOE, GPIOE, GPIOG,
GPIOB, GPIOB };

uint16_t ButtonMatrixPin[8] = { GPIO_PIN_12, GPIO_PIN_8, GPIO_PIN_11,
GPIO_PIN_14, GPIO_PIN_13, GPIO_PIN_14,
GPIO_PIN_6, GPIO_PIN_7 };

uint8_t ButtonMatrixRow = 0;  //What  R Now
void ButtonMatrixUpdate() {
	if (HAL_GetTick() - ButtonMatrixTimestamp >= 50) {
		x = x + 1;
		ButtonMatrixTimestamp = HAL_GetTick();
		int i;
		for (i = 0; i < 4; i += 1) { //0-3
			GPIO_PinState PinState = HAL_GPIO_ReadPin(ButtonMatrixPort[i],
					ButtonMatrixPin[i]);
			if (PinState == GPIO_PIN_RESET) // Button Press
					{
				ButtonMatrixState |= (uint16_t) 1 << (i + ButtonMatrixRow * 4);
			} else {
				ButtonMatrixState &=
						~((uint16_t) 1 << (i + ButtonMatrixRow * 4));
			}
		}
		uint8_t NowOutputPin = ButtonMatrixRow + 4;
		//SET Rn
		HAL_GPIO_WritePin(ButtonMatrixPort[NowOutputPin],
				ButtonMatrixPin[NowOutputPin], GPIO_PIN_SET);
		// update New Row
		ButtonMatrixRow = (ButtonMatrixRow + 1) % 4;

		uint8_t NextOutputPin = ButtonMatrixRow + 4;
		//Reset Rn+1
		HAL_GPIO_WritePin(ButtonMatrixPort[NextOutputPin],
				ButtonMatrixPin[NextOutputPin], GPIO_PIN_RESET);

	}
}
int Button( ButtonMatrixState) {
	int pass = -16;
	switch (ButtonMatrixState) {
	case 0b1:
		pass = 1;
		break;
	case 0b10:
		pass = 4;
		break;
	case 0b100:
		pass = 7;
		break;
	case 0b1000:
		pass = -6;
		break;
	case 0b10000:
		pass = 2;
		break;
	case 0b100000:
		pass = 5;
		break;
	case 0b1000000:
		pass = 8;
		break;
	case 0b10000000:
		pass = 0;
		break;
	case 0b100000000:
		pass = 3;
		break;
	case 0b1000000000:
		pass = 6;
		break;
	case 0b10000000000:
		pass = 9;
		break;
	default:
		break;
	}
	return pass;
}

void Write_MFRC522(char addr, char val) {
	char addr_bits = (((addr << 1) & 0x7E));
	HAL_GPIO_WritePin(GPIOB, GPIO_PIN_11, GPIO_PIN_RESET);
	HAL_SPI_Transmit(&hspi2, &addr_bits, 1, 500);
	HAL_SPI_Transmit(&hspi2, &val, 1, 500);
	HAL_GPIO_WritePin(GPIOB, GPIO_PIN_11, GPIO_PIN_SET);
}
char Read_MFRC522(char addr) {
	char rx_bits;
	char addr_bits = (((addr << 1) & 0x7E) | 0x80);
	HAL_GPIO_WritePin(GPIOB, GPIO_PIN_11, GPIO_PIN_RESET);
	HAL_SPI_Transmit(&hspi2, &addr_bits, 1, 500);
	HAL_SPI_Receive(&hspi2, &rx_bits, 1, 500);
	HAL_GPIO_WritePin(GPIOB, GPIO_PIN_11, GPIO_PIN_SET);
	return (char) rx_bits; // return the rx bits, casting to an 8 bit int and chopping off the upper 24 bits
}
char MFRC522_ToCard(char command, char *sendData, char sendLen, char *backData,
		int *backLen) {
	char status = 2;
	char irqEn = 0x00;
	char waitIRq = 0x00;
	char lastBits;
	char n;
	int i;

	switch (command) {
	case 0x0E:     // Certification cards close เป็นผู้อ่านรหัสบัตร
	{
		irqEn = 0x12;
		waitIRq = 0x10;
		break;
	}
	case 0x0C:  // Transmit FIFO data transceive command
	{
		irqEn = 0x77;
		waitIRq = 0x30;
		break;
	}
	default:
		break;
	}

	Write_MFRC522(0x02, irqEn | 0x80);  // Interrupt request
	ClearBitMask(0x04, 0x80);         // Clear all interrupt request bit
	SetBitMask(0x0A, 0x80);         // FlushBuffer=1, FIFO Initialization

	Write_MFRC522(0x01, 0x00);    // NO action; Cancel the current command

	// Writing data to the FIFO
	for (i = 0; i < sendLen; i++) {
		Write_MFRC522(0x09, sendData[i]); // เขียน data ลง FIFO buffer
	}

	// Execute the command
	Write_MFRC522(0x01, command); // ประกาศว่าเป็น command
	if (command == 0x0C) {
		SetBitMask(0x0D, 0x80);      // StartSend=1,transmission of data starts
	}

	// Waiting to receive data to complete
	i = 2000; // i according to the clock frequency adjustment, the operator M1 card maximum waiting time 25ms
	do {
		// CommIrqReg[7..0]
		// Set1 TxIRq RxIRq IdleIRq HiAlerIRq LoAlertIRq ErrIRq TimerIRq
		n = Read_MFRC522(0x04); // อ่านสถานะของ interrupt
		i--;
	} while ((i != 0) && !(n & 0x01) && !(n & waitIRq)); // รอให้ module ส่ง interrupt กลับมาว่าสำเร็จแล้วจึงหลุดออกจากลูป

	ClearBitMask(0x0D, 0x80);      // StartSend=0

	if (i != 0) { // ถ้าไม่ time out
		if (!(Read_MFRC522(0x06) & 0x1B)) // BufferOvfl Collerr CRCErr ProtecolErr
		{
			status = 0;
			if (n & irqEn & 0x01) {
				status = 1;             // ถ้าได้รับ interrupt กลับมาแต่ผิดฟอร์มจะขึ้น status เป็นงง
			}

			if (command == 0x0C) { // ถ้า command เป็น transcieve
				n = Read_MFRC522(0x0A); // อ่านต่าจำนวน bytes ที่กลับมาใน FIFO buffer
				lastBits = Read_MFRC522(0x0C) & 0x07; // ตรวจสอบว่า lastbit เป็น 000 ถูกต้องหรือไม่
				if (lastBits) {
					*backLen = (n - 1) * 8 + lastBits; // ถ้าไม้ใช่ก็จะเพิ่มจำนวน bit ที่ส่งกลับมา
				} else {
					*backLen = n * 8; // ถ้าใช่ก็คูณ 8 เพื่อให้เป็นจำนวน bit
				}

				if (n == 0) {
					n = 1; //จำกัดขั้นต่ำเปน1
				}
				if (n > 16) {
					n = 16; // จำกัดอย่างมากเป็น 16
				}

				// Reading the received data in FIFO
				for (i = 0; i < n; i++) {
					backData[i] = Read_MFRC522(0x09); // อ่านค่าทั้งหมดใน FIFO buffer
				}
			}
		} else {
			//printf("~~~ buffer overflow, collerr, crcerr, or protecolerr\r\n");
			status = 2;
		}
	} else {
		//printf("~~~ request timed out\r\n");
	}

	return status;
}
char MFRC522_Request(char reqMode, char *TagType) {
	char status;
	int backBits; // The received data bits

	Write_MFRC522(0x0D, 0x07);   // เซ็ทว่าส่งจบด้วย 111

	TagType[0] = reqMode;

	status = MFRC522_ToCard(0x0C, TagType, 1, TagType, &backBits); //ฟังขั่นติดต่อระหว่างบัตรกับ module
//	if ((status != 0) || (backBits != 0x10)) {
//		status = 2;
//	}

	return status;
}
void ClearBitMask(char reg, char mask) {
	char tmp;
	tmp = Read_MFRC522(reg);
	Write_MFRC522(reg, tmp & (~mask));  // clear bit mask
}
void SetBitMask(char reg, char mask) {
	char tmp;
	tmp = Read_MFRC522(reg);
	Write_MFRC522(reg, tmp | mask);  // set bit mask
}
char MFRC522_Read(char blockAddr, char *recvData) {
	char status;
	int unLen;

	recvData[0] = 0x30;
	recvData[1] = blockAddr;
	CalulateCRC(recvData, 2, &recvData[2]);
	status = MFRC522_ToCard(0x0C, recvData, 4, recvData, &unLen);

	if ((status != 0) || (unLen != 0x90)) {
		status = 2;
	}

	return status;
}
char MFRC522_Write(char blockAddr, char *writeData) {
	char status;
	int recvBits;
	char i;
	char buff[18];

	buff[0] = 0xA0;
	buff[1] = blockAddr;
	CalulateCRC(buff, 2, &buff[2]);
	status = MFRC522_ToCard(0x0C, buff, 4, buff, &recvBits);

	if ((status != 0))  // || (recvBits != 4) || ((buff[0] & 0x0F) != 0x0A))
	{
		status = 2;
	}

	if (status == 0) {
		for (i = 0; i < 16; i++)		//Data to the FIFO write 16Byte
				{
			buff[i] = *(writeData + i);
		}
		CalulateCRC(buff, 16, &buff[16]);
		status = MFRC522_ToCard(0x0C, buff, 18, buff, &recvBits);

		if ((status != 0))	// || (recvBits != 4) || ((buff[0] & 0x0F) != 0x0A))
		{
			status = 2;
		}
	}

	return status;
}
void CalulateCRC(char *pIndata, char len, char *pOutData) {
	char i, n;

	ClearBitMask(0x05, 0x04);			//CRCIrq = 0
	SetBitMask(0x0A, 0x80);			//Clear the FIFO pointer
	//Write_MFRC522(CommandReg, PCD_IDLE);

	//Writing data to the FIFO
	for (i = 0; i < len; i++) {
		Write_MFRC522(0x09, *(pIndata + i));
	}
	Write_MFRC522(0x01, 0x03);

	//Wait CRC calculation is complete
	i = 0xFF;
	do {
		n = Read_MFRC522(0x05);
		i--;
	} while ((i != 0) && !(n & 0x04));			//CRCIrq = 1

	//Read CRC calculation result
	pOutData[0] = Read_MFRC522(0x22);
	pOutData[1] = Read_MFRC522(0x21);
}
char MFRC522_Anticoll(char *serNum) {
	char status;
	char i;
	char serNumCheck = 0;
	int unLen;

	//ClearBitMask(Status2Reg, 0x08);		//TempSensclear
	//ClearBitMask(CollReg,0x80);			//ValuesAfterColl
	Write_MFRC522(0x0D, 0x00);		// สั่งให้ lastbit เป็น 000

	serNum[0] = 0x93; // anti collision เพื่อให้ได้ uid กลับมา
	serNum[1] = 0x20;
	status = MFRC522_ToCard(0x0C, serNum, 2, serNum, &unLen);

	if (status == 0) {
		//Check card serial number
		for (i = 0; i < 4; i++) {
			serNumCheck ^= serNum[i];
		}
		if (serNumCheck != serNum[i]) {
			status = 2;
		}
	}

	//SetBitMask(CollReg, 0x80);		//ValuesAfterColl=1

	return status;
}
/* USER CODE END 4 */

void Error_Handler(void) {
	__disable_irq();
	while (1) {
	}
}
